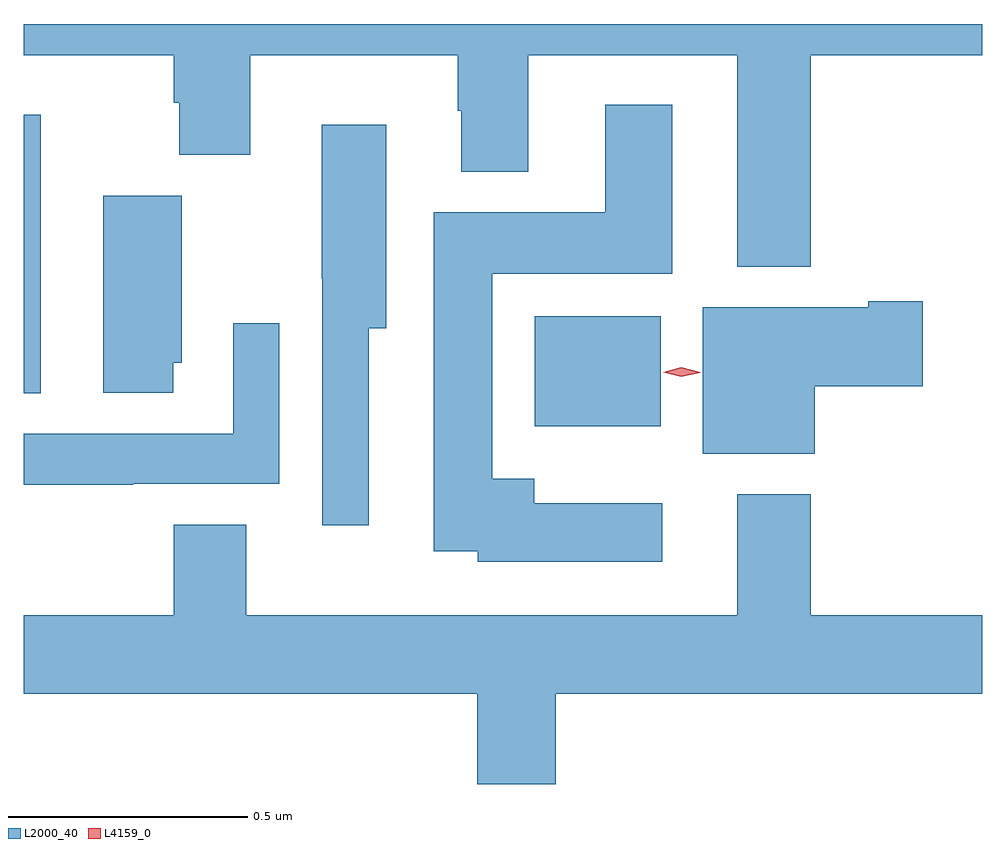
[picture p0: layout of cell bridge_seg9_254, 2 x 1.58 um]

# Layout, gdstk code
import gdstk
lib = gdstk.Library(unit=1e-6, precision=1e-09)
def R(c, l, rs):  # rectangles x0, y0, x1, y1
    for r in rs: c.add(gdstk.rectangle(r[:2], r[2:], *l))
def P(c, l, *ps):  # polygons
    for p in ps: c.add(gdstk.Polygon(p, *l))
L2000_40 = (2000, 40)
L4159_0 = (4159, 0)

bridge_seg9_254 = lib.new_cell('bridge_seg9_254')
R(bridge_seg9_254, L2000_40, [(332.96,1182.326,333.223,1182.556), (331.894,1182.395,331.93,1182.976)])
P(bridge_seg9_254, L2000_40, [(333.536,1183.1),(333.894,1183.1),(333.894,1183.165),(331.894,1183.165),(331.894,1183.1),(332.207,1183.1),(332.207,1183.001),(332.219,1183.001),(332.219,1182.892),(332.367,1182.892),(332.367,1183.1),(332.8,1183.1),(332.8,1182.984),(332.807,1182.984),(332.807,1182.857),(332.947,1182.857),(332.947,1183.1),(333.383,1183.1),(333.383,1182.659),(333.536,1182.659)],
  [(333.226,1182.166),(332.959,1182.166),(332.959,1182.217),(332.872,1182.217),(332.872,1182.644),(333.247,1182.644),(333.247,1182.997),(333.107,1182.997),(333.107,1182.772),(332.75,1182.772),(332.75,1182.065),(332.841,1182.065),(332.841,1182.044),(333.226,1182.044)],
  [(332.614,1182.53),(332.65,1182.53),(332.65,1182.955),(332.516,1182.955),(332.516,1182.634),(332.517,1182.634),(332.517,1182.12),(332.614,1182.12)],
  [(332.206,1182.459),(332.224,1182.459),(332.224,1182.807),(332.06,1182.807),(332.06,1182.396),(332.206,1182.396)],
  [(333.544,1182.409),(333.769,1182.409),(333.769,1182.587),(333.656,1182.587),(333.656,1182.574),(333.311,1182.574),(333.311,1182.269),(333.544,1182.269)],
  [(332.123,1182.206),(332.427,1182.206),(332.427,1182.541),(332.331,1182.541),(332.331,1182.31),(331.894,1182.31),(331.894,1182.204),(332.123,1182.204)],
  [(333.004,1181.768),(333.894,1181.768),(333.894,1181.932),(333.536,1181.932),(333.536,1182.184),(333.383,1182.184),(333.383,1181.932),(332.359,1181.932),(332.359,1182.121),(332.207,1182.121),(332.207,1181.932),(331.894,1181.932),(331.894,1181.768),(332.84,1181.768),(332.84,1181.58),(333.004,1181.58)])
P(bridge_seg9_254, L4159_0, [(333.266,1182.429),(333.228,1182.439),(333.228,1182.439),(333.228,1182.439),(333.266,1182.449),(333.305,1182.439),(333.305,1182.439),(333.305,1182.438)])

lib.write_gds('bridge_seg9_254.gds')
